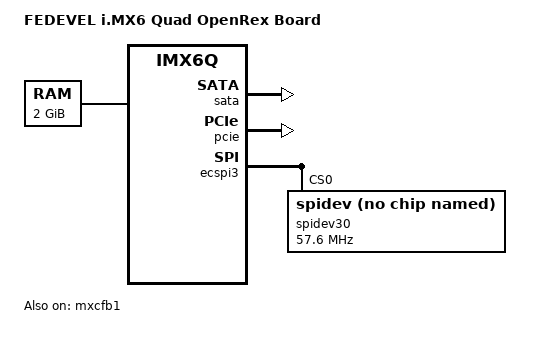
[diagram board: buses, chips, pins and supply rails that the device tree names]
/*
 * Copyright 2012 Freescale Semiconductor, Inc.
 * Copyright 2011 Linaro Ltd.
 *
 * The code contained herein is licensed under the GNU General Public
 * License. You may obtain a copy of the GNU General Public License
 * Version 2 or later at the following locations:
 *
 * http://www.opensource.org/licenses/gpl-license.html
 * http://www.gnu.org/copyleft/gpl.html
 */

/dts-v1/;

#include "imx6q.dtsi"
#include "imx6qdl-openrex.dtsi"

/ {
	model = "FEDEVEL i.MX6 Quad OpenRex Board";
	compatible = "fsl,imx6q-openrex", "fsl,imx6q";

	memory {
		reg = <0x10000000 0x80000000>; /* reg = 0x10000000 (base address) 0x80000000 (size = 2147483648 bits => 2GB) */
	};
};

&mxcfb1 {
	status = "okay";
};

&mxcfb2 {
	status = "disabled";
};

&mxcfb3 {
	status = "disabled";
};

&mxcfb4 {
	status = "disabled";
};

&sata {
	status = "okay";
};

&pcie {
	status = "okay";
};


&ecspi3 {
	spidev30: spi@3 {
		compatible = "spidev";
		reg = <0>;
		spi-max-frequency = <57600000>;
	};
};
